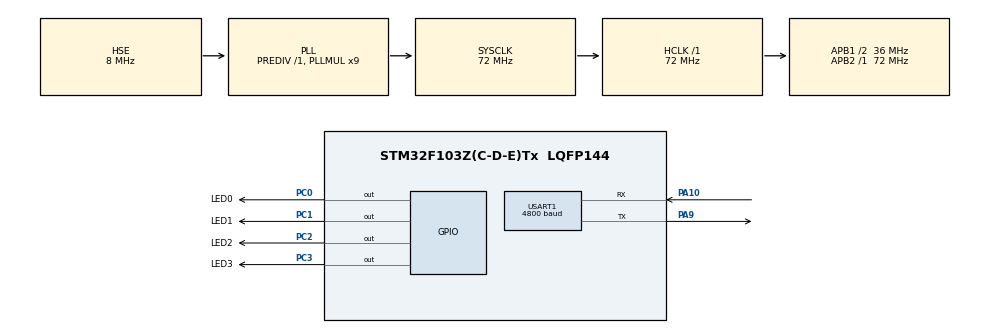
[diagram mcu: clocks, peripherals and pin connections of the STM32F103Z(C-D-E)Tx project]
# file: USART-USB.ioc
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Mcu.Family=STM32F1
Mcu.Name=STM32F103Z(C-D-E)Tx
Mcu.Package=LQFP144
NVIC.PriorityGroup=NVIC_PRIORITYGROUP_4
NVIC.USART1_IRQn=true\:0\:0\:true\:false\:true\:true\:true
OSC_IN.Mode=HSE-External-Oscillator
OSC_IN.Signal=RCC_OSC_IN
OSC_OUT.Mode=HSE-External-Oscillator
OSC_OUT.Signal=RCC_OSC_OUT
PA10.GPIO_Mode=GPIO_MODE_INPUT
PA10.Mode=Asynchronous
PA10.Signal=USART1_RX
PA13.Mode=Serial_Wire
PA13.Signal=SYS_JTMS-SWDIO
PA14.Mode=Serial_Wire
PA14.Signal=SYS_JTCK-SWCLK
PA9.Mode=Asynchronous
PA9.Signal=USART1_TX
PC0.GPIO_Label=LED0
PC0.GPIO_ModeDefaultOutputPP=GPIO_MODE_OUTPUT_PP
PC0.GPIO_PuPd=GPIO_NOPULL
PC0.GPIO_Speed=GPIO_SPEED_FREQ_LOW
PC0.PinState=GPIO_PIN_SET
PC0.Signal=GPIO_Output
PC1.GPIO_Label=LED1
PC1.GPIO_ModeDefaultOutputPP=GPIO_MODE_OUTPUT_PP
PC1.GPIO_PuPd=GPIO_NOPULL
PC1.GPIO_Speed=GPIO_SPEED_FREQ_LOW
PC1.PinState=GPIO_PIN_SET
PC1.Signal=GPIO_Output
PC2.GPIO_Label=LED2
PC2.GPIO_ModeDefaultOutputPP=GPIO_MODE_OUTPUT_PP
PC2.GPIO_PuPd=GPIO_NOPULL
PC2.GPIO_Speed=GPIO_SPEED_FREQ_LOW
PC2.PinState=GPIO_PIN_SET
PC2.Signal=GPIO_Output
PC3.GPIO_Label=LED3
PC3.GPIO_ModeDefaultOutputPP=GPIO_MODE_OUTPUT_PP
PC3.GPIO_PuPd=GPIO_NOPULL
PC3.GPIO_Speed=GPIO_SPEED_FREQ_LOW
PC3.PinState=GPIO_PIN_SET
PC3.Signal=GPIO_Output
ProjectManager.HeapSize=0x200
ProjectManager.StackSize=0x400
ProjectManager.TargetToolchain=MDK-ARM V5.27
RCC.AHBFreq_Value=72000000
RCC.APB1CLKDivider=RCC_HCLK_DIV2
RCC.APB1Freq_Value=36000000
RCC.APB1TimFreq_Value=72000000
RCC.APB2Freq_Value=72000000
RCC.APB2TimFreq_Value=72000000
RCC.HCLKFreq_Value=72000000
RCC.PLLMUL=RCC_PLL_MUL9
RCC.PLLSourceVirtual=RCC_PLLSOURCE_HSE
RCC.SYSCLKFreq_VALUE=72000000
RCC.SYSCLKSource=RCC_SYSCLKSOURCE_PLLCLK
RCC.USBFreq_Value=48000000
RCC.USBPrescaler=RCC_USBCLKSOURCE_PLL_DIV1_5
USART1.BaudRate=4800
USART1.VirtualMode=VM_ASYNC
USART1.WordLength=WORDLENGTH_8B
board=custom

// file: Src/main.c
/* USER CODE BEGIN Header */
/**
  ******************************************************************************
  * @file           : main.c
  * @brief          : Main program body
  ******************************************************************************
  * @attention
  *
  * <h2><center>&copy; Copyright (c) 2020 STMicroelectronics.
  * All rights reserved.</center></h2>
  *
  * This software component is licensed by ST under BSD 3-Clause license,
  * the "License"; You may not use this file except in compliance with the
  * License. You may obtain a copy of the License at:
  *                        opensource.org/licenses/BSD-3-Clause
  *
  ******************************************************************************
  */
/* USER CODE END Header */

#include "main.h"
#include "usart.h"
#include "gpio.h"

/* USER CODE BEGIN Includes */
#include <stdio.h>
/* USER CODE END Includes */

void SystemClock_Config(void);

/* USER CODE BEGIN 0 */
int fputc(int ch, FILE *f)
{
	HAL_UART_Transmit(&huart1,(uint8_t *)&ch, sizeof(ch), 0xffff);
	return ITM_SendChar(ch);
}

int fgetc(FILE *f)
{
	uint8_t ch;
	HAL_UART_Receive(&huart1,(uint8_t *)&ch, sizeof(ch), 0xffff);
	return ch;
}
/* USER CODE END 0 */

int main(void)
{

  /* MCU Configuration--------------------------------------------------------*/

  /* Reset of all peripherals, Initializes the Flash interface and the Systick. */
  HAL_Init();

  /* Configure the system clock */
  SystemClock_Config();

  /* Initialize all configured peripherals */
  MX_GPIO_Init();
  MX_USART1_UART_Init();
  /* USER CODE BEGIN 2 */
	printf("\n\rhelloworld");
  /* USER CODE END 2 */

  /* Infinite loop */
  while (1)
  {

    /* USER CODE BEGIN 3 */
		printf("\n\rinput:");
		uint8_t buf[64];
		scanf("%s", buf);
		printf("\n\routput:%s", buf);
		HAL_Delay(1000);
  }
  /* USER CODE END 3 */
}

void SystemClock_Config(void)
{
  RCC_OscInitTypeDef RCC_OscInitStruct = {0};
  RCC_ClkInitTypeDef RCC_ClkInitStruct = {0};

  /** Initializes the CPU, AHB and APB busses clocks
  */
  RCC_OscInitStruct.OscillatorType = RCC_OSCILLATORTYPE_HSE;
  RCC_OscInitStruct.HSEState = RCC_HSE_ON;
  RCC_OscInitStruct.HSEPredivValue = RCC_HSE_PREDIV_DIV1;
  RCC_OscInitStruct.HSIState = RCC_HSI_ON;
  RCC_OscInitStruct.PLL.PLLState = RCC_PLL_ON;
  RCC_OscInitStruct.PLL.PLLSource = RCC_PLLSOURCE_HSE;
  RCC_OscInitStruct.PLL.PLLMUL = RCC_PLL_MUL9;
  if (HAL_RCC_OscConfig(&RCC_OscInitStruct) != HAL_OK)
  {
    Error_Handler();
  }
  /** Initializes the CPU, AHB and APB busses clocks
  */
  RCC_ClkInitStruct.ClockType = RCC_CLOCKTYPE_HCLK|RCC_CLOCKTYPE_SYSCLK
                              |RCC_CLOCKTYPE_PCLK1|RCC_CLOCKTYPE_PCLK2;
  RCC_ClkInitStruct.SYSCLKSource = RCC_SYSCLKSOURCE_PLLCLK;
  RCC_ClkInitStruct.AHBCLKDivider = RCC_SYSCLK_DIV1;
  RCC_ClkInitStruct.APB1CLKDivider = RCC_HCLK_DIV2;
  RCC_ClkInitStruct.APB2CLKDivider = RCC_HCLK_DIV1;

  if (HAL_RCC_ClockConfig(&RCC_ClkInitStruct, FLASH_LATENCY_2) != HAL_OK)
  {
    Error_Handler();
  }
}

/* USER CODE BEGIN 4 */

void HAL_UART_RxCpltCallback(UART_HandleTypeDef *huart)
{
	//HAL_GPIO_WritePin(LED0_GPIO_Port,LED0_Pin,GPIO_PIN_RESET);
}
/* USER CODE END 4 */

void Error_Handler(void)
{
}

/************************ (C) COPYRIGHT STMicroelectronics *****END OF FILE****/
